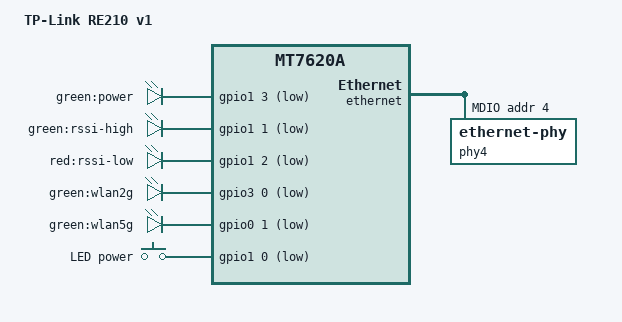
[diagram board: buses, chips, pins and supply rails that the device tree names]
// SPDX-License-Identifier: GPL-2.0-or-later OR MIT

#include "mt7620a_tplink_re2x0-v1.dtsi"

/ {
	compatible = "tplink,re210-v1", "ralink,mt7620a-soc";
	model = "TP-Link RE210 v1";

	aliases {
		led-boot = &led_power;
		led-failsafe = &led_power;
		led-running = &led_power;
		led-upgrade = &led_power;
	};

	leds {
		compatible = "gpio-leds";

		led_power: power {
			label = "green:power";
			gpios = <&gpio1 3 GPIO_ACTIVE_LOW>;
		};

		rssi_high {
			label = "green:rssi-high";
			gpios = <&gpio1 1 GPIO_ACTIVE_LOW>;
		};

		rssi_low {
			label = "red:rssi-low";
			gpios = <&gpio1 2 GPIO_ACTIVE_LOW>;
		};

		wlan2g {
			label = "green:wlan2g";
			gpios = <&gpio3 0 GPIO_ACTIVE_LOW>;
			linux,default-trigger = "phy1tpt";
		};

		wlan5g {
			label = "green:wlan5g";
			gpios = <&gpio0 1 GPIO_ACTIVE_LOW>;
			linux,default-trigger = "phy0tpt";
		};
	};
};

&keys {
	led_power {
		label = "LED power";
		gpios = <&gpio1 0 GPIO_ACTIVE_LOW>;
		linux,code = <BTN_0>;
	};
};

&state_default {
	gpio {
		groups = "i2c", "uartf", "wled", "rgmii1";
		function = "gpio";
	};
};

&gsw {
	mediatek,port4-gmac;
	mediatek,ephy-base = /bits/ 8 <8>;
};

&ethernet {
	pinctrl-names = "default";
	pinctrl-0 = <&rgmii2_pins &mdio_pins>;

	port@4 {
		status = "okay";

		phy-handle = <&phy4>;
		phy-mode = "rgmii";
	};

	mdio-bus {
		status = "okay";

		phy4: ethernet-phy@4 {
			reg = <4>;
			phy-mode = "rgmii";
		};
	};
};

&gpio1 {
	status = "okay";
};

&gpio3 {
	status = "okay";
};
